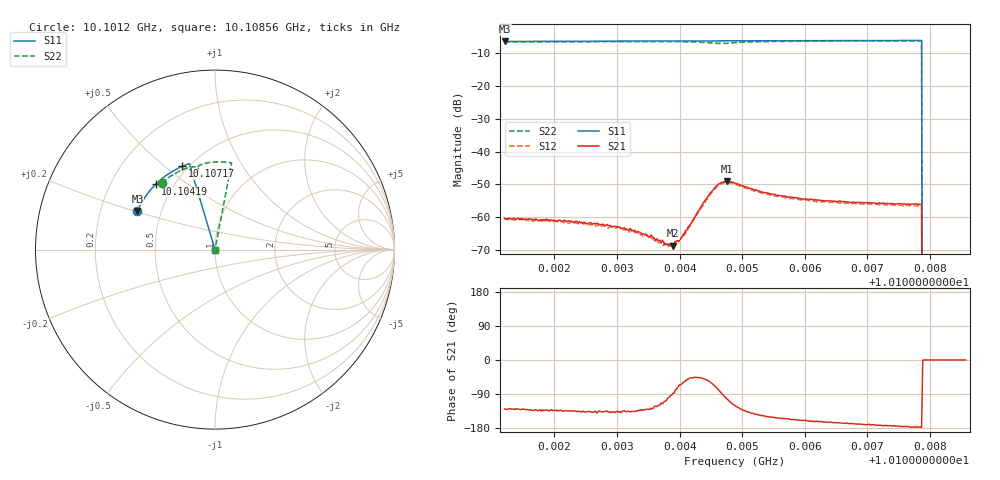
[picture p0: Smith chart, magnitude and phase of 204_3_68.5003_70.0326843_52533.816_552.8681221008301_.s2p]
#  HZ  S  RI  R  50.00
! Rohde & Schwarz Vector Network Analyzer
! Rohde-Schwarz,ZNB20-2Port,1311601062101988,3.16
! Created: UTC 3/20/2024, 4:57:45 PM
! freq[Hz]  re:S11  im:S11  re:S21  im:S21  re:S12  im:S12  re:S22  im:S22
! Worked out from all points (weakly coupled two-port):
!   401 points, 10.1012 GHz to 10.10856 GHz, reference 50 ohm
!   highest |S21| = -49.09 dB at 10.10476 GHz (marker M1); lowest = -68.7 dB at 10.10389 GHz (marker M2)
!   lowest |S11| = -6.3 dB at 10.1012 GHz (marker M3), VSWR 2.87, Z = 18.3 + j10.3 ohm
!   |S11| at or under -10 dB: 10.10787 GHz to end of sweep
!   |S22| runs from - to -6.2 dB; largest |S21 - S12| = 0.00036
!   S11 on the Smith chart (normalised r, x): 10.1012 GHz: 0.37, +0.21; 10.10419 GHz: 0.40, +0.38; 10.10717 GHz: 0.47, +0.58; 10.10856 GHz: 1.00, +0.00
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1.0101205e10  -0.432 0.215  -0.000604 -0.000739  -0.000539 -0.000784  -0.2956 0.3718
1.0102437e10  -0.3968 0.2814  -0.000608 -0.000566  -0.000531 -0.000622  -0.2309 0.4193
1.0103026e10  -0.3767 0.3108  -0.000528 -0.000478  -0.00048 -0.000511  -0.1967 0.4379
1.0103247e10  -0.3684 0.3213  -0.000449 -0.00044  -0.000387 -0.000442  -0.1829 0.4441
1.0103486e10  -0.3592 0.3326  -0.00034 -0.000398  -0.000291 -0.000415  -0.1676 0.4504
1.010367e10  -0.352 0.3411  -0.000222 -0.000384  -0.000154 -0.000372  -0.1553 0.4547
1.0103799e10  -0.3468 0.3469  -9.13e-05 -0.00037  -5.11e-05 -0.000382  -0.1462 0.4573
1.0103891e10  -0.343 0.351  1.18e-05 -0.000366  2.25e-05 -0.000385  -0.1396 0.4591
1.010402e10  -0.3375 0.3569  0.000195 -0.000423  0.000232 -0.000417  -0.1297 0.4607
1.0104185e10  -0.3305 0.3638  0.000557 -0.000593  0.000591 -0.00055  -0.1162 0.461
1.0104388e10  -0.3216 0.3723  0.00109 -0.0013  0.00113 -0.00113  -0.0992 0.4562
1.0104553e10  -0.3143 0.3791  0.00105 -0.00255  0.0012 -0.00236  -0.0923 0.4446
1.0104645e10  -0.3101 0.3827  0.000386 -0.00326  0.00065 -0.00306  -0.0954 0.4394
1.0104756e10  -0.3051 0.3871  -0.00077 -0.00343  -0.000452 -0.00333  -0.102 0.4414
1.0104884e10  -0.2993 0.3921  -0.00165 -0.00284  -0.00135 -0.00286  -0.1029 0.4514
1.0105326e10  -0.2783 0.4088  -0.00201 -0.00132  -0.00184 -0.00142  -0.076 0.4743
1.0106117e10  -0.2386 0.4355  -0.00176 -0.000594  -0.00162 -0.000709  -0.0211 0.4865
1.0107166e10  -0.1819 0.4644  -0.00162 -0.000223  -0.00151 -0.000367  0.0478 0.4881
1.010735e10  -0.1718 0.4686  -0.0016 -0.00019  -0.0015 -0.000332  0.0597 0.4872
1.0107828e10  -0.1445 0.4786  -0.00157 -8.02e-05  -0.00145 -0.000225  0.0904 0.4837
1.010792e10  0 0  0 0  0 0  0 0
1.0108564e10  0 0  0 0  0 0  0 0
